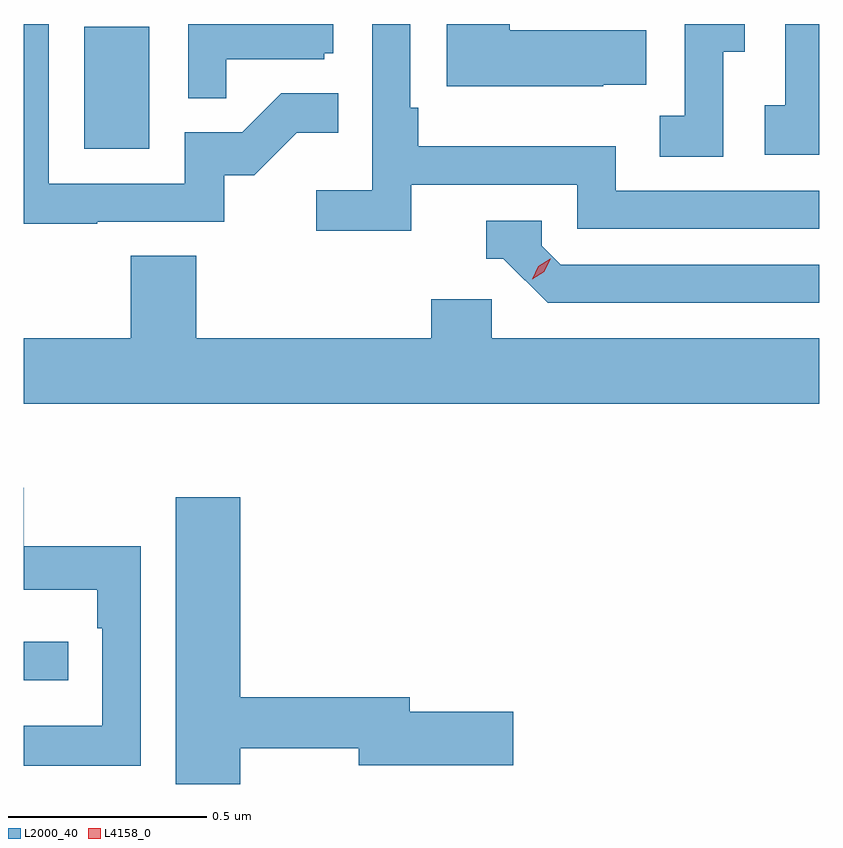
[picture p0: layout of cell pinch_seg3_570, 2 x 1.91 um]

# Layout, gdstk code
import gdstk
lib = gdstk.Library(unit=1e-6, precision=1e-09)
def R(c, l, rs):  # rectangles x0, y0, x1, y1
    for r in rs: c.add(gdstk.rectangle(r[:2], r[2:], *l))
def P(c, l, *ps):  # polygons
    for p in ps: c.add(gdstk.Polygon(p, *l))
L2000_40 = (2000, 40)
L4158_0 = (4158, 0)

pinch_seg3_570 = lib.new_cell('pinch_seg3_570')
R(pinch_seg3_570, L2000_40, [(1133.532,686.901,1133.644,686.997), (1133.684,688.236,1133.848,688.543)])
P(pinch_seg3_570, L2000_40, [(1134.989,688.397),(1135.097,688.397),(1135.097,688.534),(1134.754,688.534),(1134.754,688.55),(1134.596,688.55),(1134.596,688.394),(1134.989,688.394)],
  [(1134.041,688.461),(1134.288,688.461),(1134.288,688.476),(1134.31,688.476),(1134.31,688.55),(1133.946,688.55),(1133.946,688.363),(1134.041,688.363)],
  [(1135.532,688.55),(1135.446,688.55),(1135.446,688.346),(1135.395,688.346),(1135.395,688.221),(1135.532,688.221)],
  [(1135.29,688.48),(1135.345,688.48),(1135.345,688.55),(1135.194,688.55),(1135.194,688.319),(1135.131,688.319),(1135.131,688.216),(1135.29,688.216)],
  [(1134.506,688.146),(1134.924,688.146),(1134.924,688.035),(1135.532,688.035),(1135.532,688.131),(1135.02,688.131),(1135.02,688.243),(1134.524,688.243),(1134.524,688.339),(1134.504,688.339),(1134.504,688.55),(1134.408,688.55),(1134.408,688.132),(1134.267,688.132),(1134.267,688.03),(1134.506,688.03)],
  [(1133.717,688.053),(1134.036,688.053),(1134.036,688.17),(1134.112,688.17),(1134.219,688.277),(1134.323,688.277),(1134.323,688.376),(1134.179,688.376),(1134.081,688.278),(1133.937,688.278),(1133.937,688.149),(1133.595,688.149),(1133.595,688.55),(1133.532,688.55),(1133.532,688.048),(1133.717,688.048)],
  [(1135.532,687.945),(1134.882,687.945),(1134.834,687.993),(1134.834,688.056),(1134.695,688.056),(1134.695,687.96),(1134.738,687.96),(1134.849,687.849),(1135.532,687.849)],
  [(1135.532,687.76),(1134.708,687.76),(1134.708,687.858),(1134.557,687.858),(1134.557,687.76),(1133.966,687.76),(1133.966,687.968),(1133.801,687.968),(1133.801,687.76),(1133.532,687.76),(1133.532,687.596),(1135.532,687.596)],
  [(1133.826,687.238),(1133.533,687.238),(1133.533,687.384),(1133.532,687.384),(1133.532,687.128),(1133.717,687.128),(1133.717,687.032),(1133.73,687.032),(1133.73,686.787),(1133.532,686.787),(1133.532,686.686),(1133.826,686.686)],
  [(1134.076,686.73),(1134.374,686.73),(1134.374,686.687),(1134.763,686.687),(1134.763,686.822),(1134.502,686.822),(1134.502,686.858),(1134.076,686.858),(1134.076,687.361),(1133.915,687.361),(1133.915,686.64),(1134.076,686.64)])
P(pinch_seg3_570, L4158_0, [(1134.81,687.908),(1134.81,687.908),(1134.826,687.941),(1134.856,687.96),(1134.857,687.96),(1134.857,687.96),(1134.841,687.927),(1134.81,687.908)])

lib.write_gds('pinch_seg3_570.gds')
